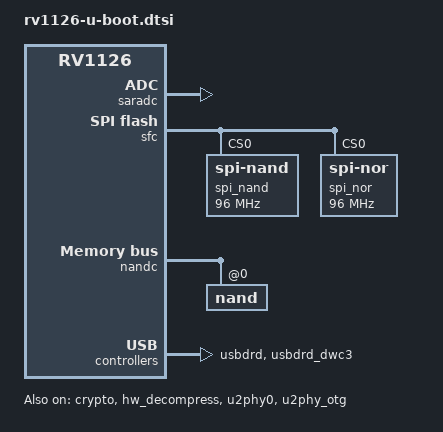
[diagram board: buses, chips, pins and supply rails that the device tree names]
/*
 * (C) Copyright 2020 Rockchip Electronics Co., Ltd
 *
 * SPDX-License-Identifier:     GPL-2.0+
 */

/ {
	aliases {
		mmc0 = &emmc;
		mmc1 = &sdmmc;
	};

	chosen {
		stdout-path = &uart2;
		u-boot,spl-boot-order = &spi_nand, &spi_nor, &nandc, &emmc;
	};
};

&uart2 {
	clock-frequency = <24000000>;
	u-boot,dm-spl;
};

&sdmmc {
	u-boot,dm-spl;
};

&emmc {
	u-boot,dm-spl;
};

&pmu {
	u-boot,dm-spl;
};

&pmugrf {
	u-boot,dm-spl;
};

&pmucru {
	u-boot,dm-spl;
};

&cru {
	u-boot,dm-spl;
};

&crypto {
	u-boot,dm-spl;
	status = "okay";
};

&grf {
	u-boot,dm-spl;
};

&saradc {
	u-boot,dm-spl;
	status = "okay";
};

&sfc {
	u-boot,dm-spl;
	status = "okay";

	#address-cells = <1>;
	#size-cells = <0>;
	spi_nand: flash@0 {
		u-boot,dm-spl;
		compatible = "spi-nand";
		reg = <0>;
		spi-tx-bus-width = <1>;
		spi-rx-bus-width = <4>;
		spi-max-frequency = <96000000>;
	};

	spi_nor: flash@1 {
		u-boot,dm-spl;
		compatible = "jedec,spi-nor";
		reg = <0>;
		spi-tx-bus-width = <1>;
		spi-rx-bus-width = <4>;
		spi-max-frequency = <96000000>;
	};
};

&nandc {
	u-boot,dm-spl;
	status = "okay";
	#address-cells = <1>;
	#size-cells = <0>;

	nand@0 {
		u-boot,dm-spl;
		reg = <0>;
		nand-ecc-mode = "hw_syndrome";
		nand-ecc-strength = <16>;
		nand-ecc-step-size = <1024>;
	};
};

&hw_decompress {
	u-boot,dm-spl;
	status = "okay";
};

&u2phy0 {
	u-boot,dm-pre-reloc;
	status = "okay";
};

&u2phy_otg {
	u-boot,dm-pre-reloc;
	status = "okay";
};

&usbdrd {
	u-boot,dm-pre-reloc;
	status = "okay";
};

&usbdrd_dwc3 {
	u-boot,dm-pre-reloc;
	status = "okay";
};
